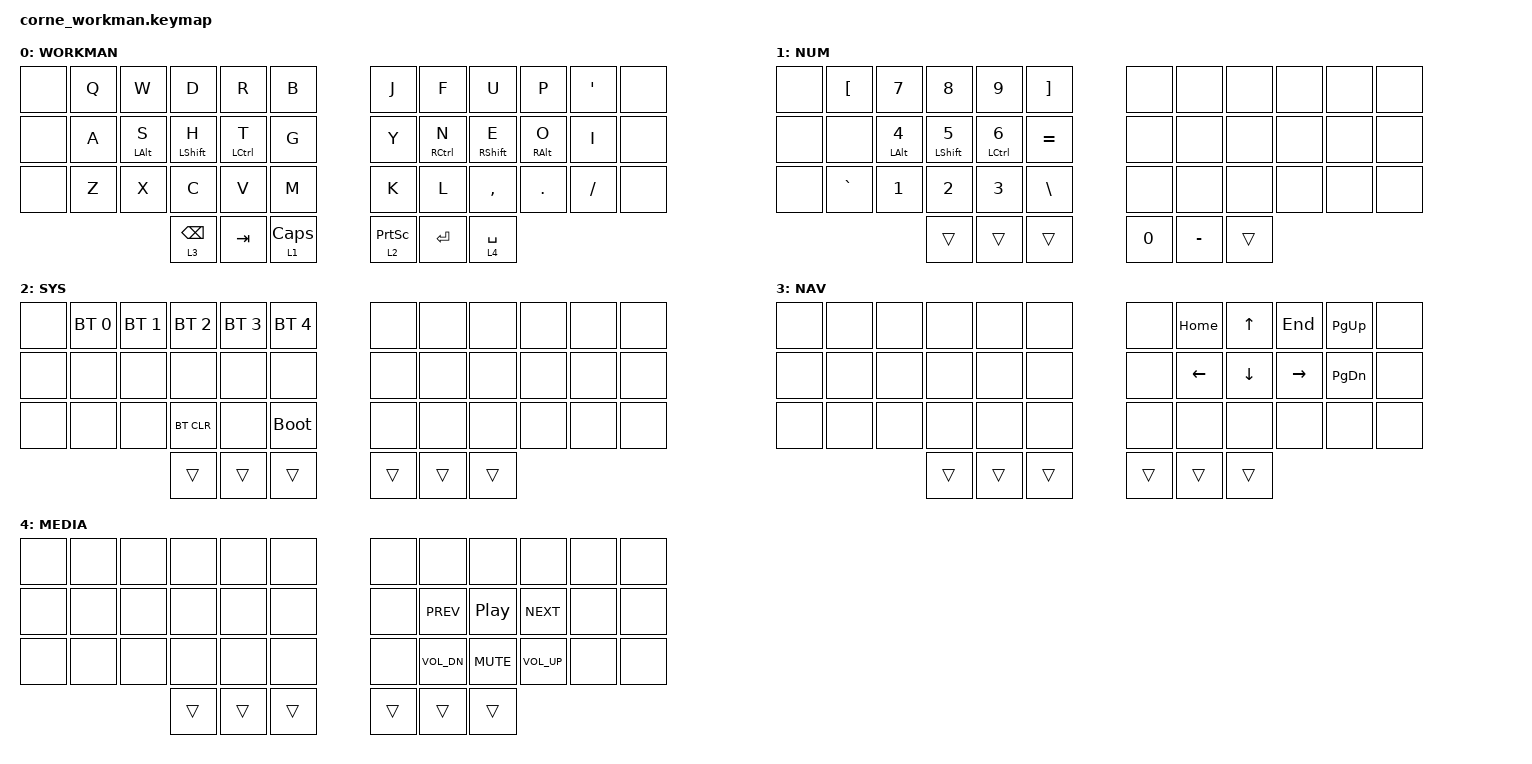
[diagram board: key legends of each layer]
#include <behaviors.dtsi>
#include <dt-bindings/zmk/keys.h>
#include <dt-bindings/zmk/bt.h>

/ {
    behaviors {
        /* LEFT-hand cross-hand HRMs */
        lhm: left_hand_hrm {
            compatible = "zmk,behavior-hold-tap";
            label = "LHM";
            #binding-cells = <2>;
            tapping-term-ms = <200>;
            flavor = "tap-unless-interrupted";
            bindings = <&kp>, <&kp>;
            hold-trigger-key-positions = <6 7 8 9 10 18 19 20 21 22 30 31 32 33 34>;
        };

        /* RIGHT-hand cross-hand HRMs */
        rhm: right_hand_hrm {
            compatible = "zmk,behavior-hold-tap";
            label = "RHM";
            #binding-cells = <2>;
            tapping-term-ms = <200>;
            flavor = "tap-unless-interrupted";
            bindings = <&kp>, <&kp>;
            hold-trigger-key-positions = <0 1 2 3 4 5 12 13 14 15 16 24 25 26 27 28>;
        };
    };

    combos {
        compatible = "zmk,combos";
        /* LEFT (open) */
        combo_lparen { timeout-ms = <40>; key-positions = <13 14>; bindings = <&kp LPAR>; };
        combo_lbracket { timeout-ms = <40>; key-positions = <14 15>; bindings = <&kp LBKT>; };
        combo_lbrace { timeout-ms = <40>; key-positions = <13 15>; bindings = <&kp LBRC>; };
        /* RIGHT (close) */
        combo_rparen { timeout-ms = <40>; key-positions = <18 19>; bindings = <&kp RPAR>; };
        combo_rbracket { timeout-ms = <40>; key-positions = <19 20>; bindings = <&kp RBKT>; };
        combo_rbrace { timeout-ms = <40>; key-positions = <18 20>; bindings = <&kp RBRC>; };
    };

        keymap {
        compatible = "zmk,keymap";

        base {
            display-name = "WORKMAN";
            bindings = <
                &none &kp Q &kp W &kp D &kp R &kp B            &kp J &kp F &kp U &kp P &kp SQT &none
                &none &kp A &lhm LALT S &lhm LSHFT H &lhm LCTRL T &kp G     &kp Y &rhm RCTRL N &rhm RSHFT E &rhm RALT O &kp I &none
                &none &kp Z &kp X &kp C &kp V &kp M            &kp K &kp L &kp COMMA &kp DOT &kp FSLH &none
                                &lt 3 BSPC &kp TAB &lt 1 CLCK  &lt 2 PSCRN &kp ENTER &lt 4 SPACE
            >;
        };

        layer_1 {
            display-name = "NUM";
            bindings = <
                &none &kp LBKT &kp N7 &kp N8 &kp N9 &kp RBKT   &none &none &none &none &none &none
                &none &none &lhm LALT N4 &lhm LSHFT N5 &lhm LCTRL N6 &kp EQUAL  &none &none &none &none &none &none
                &none &kp GRAVE &kp N1 &kp N2 &kp N3 &kp BSLH  &none &none &none &none &none &none
                                &trans &trans &trans           &kp N0 &kp MINUS &trans
            >;
        };

        layer_2 {
            display-name = "SYS";
            bindings = <
                &none &bt BT_SEL 0 &bt BT_SEL 1 &bt BT_SEL 2 &bt BT_SEL 3 &bt BT_SEL 4   &none &none &none &none &none &none
                &none &none        &none        &none        &none        &none          &none &none &none &none &none &none
                &none &none        &none        &bt BT_CLR   &none        &bootloader    &none &none &none &none &none &none
                                &trans &trans &trans           &trans &trans &trans
            >;
        };

        layer_3 {
            display-name = "NAV";
            bindings = <
                &none &none &none &none &none &none            &none &kp HOME &kp UP   &kp END   &kp PG_UP &none
                &none &none &none &none &none &none            &none &kp LEFT &kp DOWN &kp RIGHT &kp PG_DN &none
                &none &none &none &none &none &none            &none &none    &none    &none     &none     &none
                                &trans &trans &trans           &trans &trans &trans
            >;
        };

        layer_4 {
            display-name = "MEDIA";
            bindings = <
                &none &none &none &none &none &none            &none &none &none &none &none &none
                &none &none &none &none &none &none            &none &kp C_PREV &kp C_PP &kp C_NEXT &none &none
                &none &none &none &none &none &none            &none &kp C_VOL_DN &kp C_MUTE &kp C_VOL_UP &none &none
                                &trans &trans &trans           &trans &trans &trans
            >;
        };
    };
};
